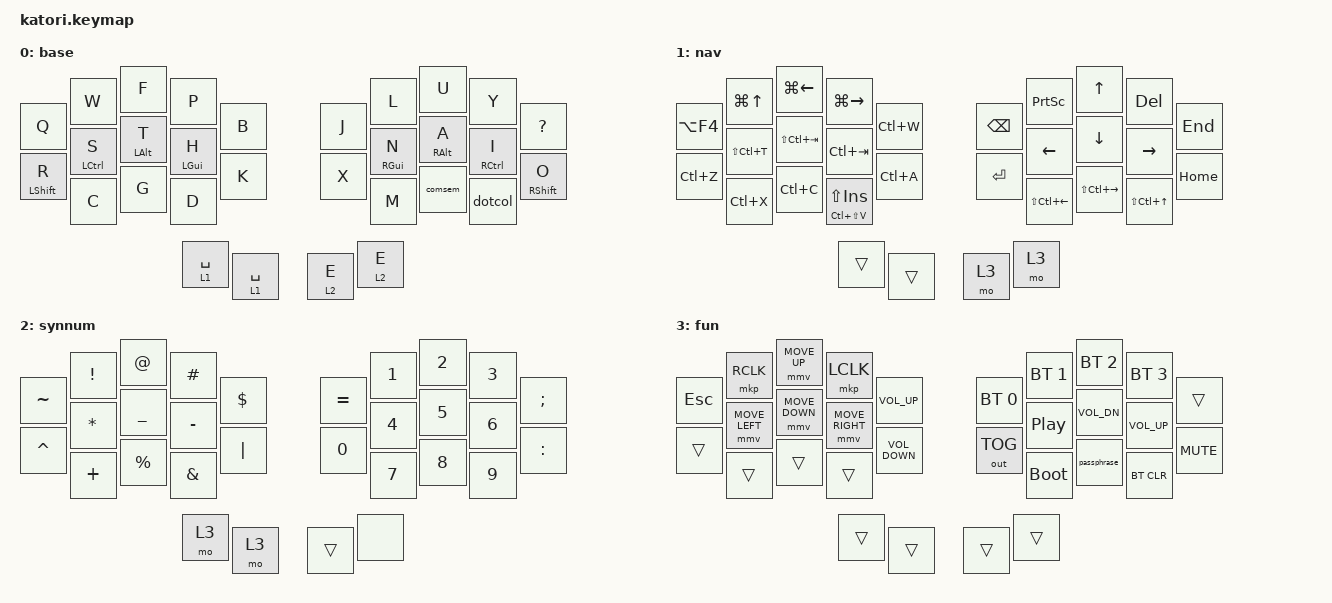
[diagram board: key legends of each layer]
/*
 * Copyright (c) 2020 The ZMK Contributors
 *
 * SPDX-License-Identifier: MIT
 */

#include <behaviors/mouse_keys.dtsi>
#include <behaviors.dtsi>
#include <dt-bindings/zmk/bt.h>
#include <dt-bindings/zmk/keys.h>
#include <dt-bindings/zmk/mouse.h>
#include <dt-bindings/zmk/outputs.h>

/* Key Position Groups */

#define KEYS_L 0 1 2 3 4 10 11 12 13 14 20 21 22  // left-hand keys
#define KEYS_R 5 6 7 8 9 15 16 17 18 19 23 24 25  // right-hand keys
#define THUMBS 26 27 28 29                        // thumb keys

/* Behavior Settings */

&sl { release-after-ms = <250>; };

&lt {
    tapping-term-ms = <240>;
    quick-tap-ms = <150>;
    require-prior-idle-ms = <10>;
    flavor = "tap-preferred";
};

&mt {
    tapping-term-ms = <250>;
    require-prior-idle-ms = <250>;
    flavor = "tap-preferred";
};

&soft_off {
    hold-time-ms = <5000>; // Only turn off it the key is held for 5 seconds or longer.
};

&sk {
    quick-release;
    release-after-ms = <600>;
};

/ {
    behaviors {
        dotcol: dot_col {
            compatible = "zmk,behavior-mod-morph";
            label = "DOT_COL";
            bindings = <&kp PERIOD>, <&kp COLON>;

            #binding-cells = <0>;
            mods = <(MOD_LSFT|MOD_RSFT)>;
        };

        comsem: comma_semicolon {
            compatible = "zmk,behavior-mod-morph";
            label = "COM_SEM";
            bindings = <&kp COMMA>, <&kp SEMI>;

            #binding-cells = <0>;
            mods = <(MOD_LSFT|MOD_RSFT)>;
        };

        shiftcap: shiftcap {
            compatible = "zmk,behavior-tap-dance";
            label = "SHIFTCAP";
            #binding-cells = <0>;
            bindings = <&sk LEFT_SHIFT>, <&caps_word>;
        };
    };

    conditional_layers { compatible = "zmk,conditional-layers"; };

    combos {
        compatible = "zmk,combos";

        /*                KEY POSITIONS

             0   1   2   3   4      5   6   7   8   9
            10  11  12  13  14     15  16  17  18  19
                20  21  22             23  24  25
                        26  27     28  29              */
        /* Letters */

        v {
            key-positions = <1 2>;
            bindings = <&kp V>;
        };

        qu {
            key-positions = <2 3>;
            bindings = <&qu>;
        };

        z {
            key-positions = <20 21>;
            bindings = <&kp Z>;
        };

        q {
            bindings = <&kp Q>;
            key-positions = <22 21>;
        };

        /* Brackets */

        lbkt {
            key-positions = <2 12>;
            bindings = <&kp LBKT>;
        };

        rbkt {
            key-positions = <7 17>;
            bindings = <&kp RBKT>;
        };

        lpar {
            key-positions = <3 13>;
            bindings = <&kp LPAR>;
        };

        rpar {
            key-positions = <6 16>;
            bindings = <&kp RPAR>;
        };

        lbrc {
            key-positions = <1 11>;
            bindings = <&kp LBRC>;
        };

        rbrc {
            key-positions = <18 8>;
            bindings = <&kp RBRC>;
        };

        /* Convenience */

        fwslah {
            bindings = <&kp SLASH>;
            key-positions = <24 25>;
        };

        bkslash {
            bindings = <&kp BACKSLASH>;
            key-positions = <23 24>;
        };

        apos {
            bindings = <&kp APOS>;
            key-positions = <8 7>;
        };

        grave {
            bindings = <&kp GRAVE>;
            key-positions = <6 7>;
        };

        off {
            bindings = <&soft_off>;
            key-positions = <25 24 23>;
        };

        boot {
            bindings = <&bootloader>;
            key-positions = <22 21 20>;
        };

        delete {
            bindings = <&kp DELETE>;
            key-positions = <11 12 13>;
        };

        backspace {
            bindings = <&kp BACKSPACE>;
            key-positions = <16 18 17>;
        };

        tab {
            bindings = <&kp TAB>;
            key-positions = <13 11>;
        };

        enter {
            bindings = <&kp ENTER>;
            key-positions = <16 18>;
        };

        less {
            bindings = <&kp LESS_THAN>;
            key-positions = <4 14>;
        };

        more {
            bindings = <&kp GREATER_THAN>;
            key-positions = <5 15>;
        };

        shiftl {
            bindings = <&sk LEFT_SHIFT>;
            key-positions = <13 12>;
        };

        shiftr {
            bindings = <&sk RIGHT_SHIFT>;
            key-positions = <16 17>;
        };

        capsword {
            bindings = <&caps_word>;
            key-positions = <13 16>;
        };

        playpause {
            bindings = <&kp C_PLAY_PAUSE>;
            key-positions = <5 15>;
            layers = <3 1>;
        };
    };

    macros {
        passphrase: passphrase {
            compatible = "zmk,behavior-macro";
            #binding-cells = <0>;
            bindings = <&none &kp J &kp N &kp M &kp DLLR &kp LS(A) &kp N7 &kp D &kp LS(N) &kp K &kp LS(S) &kp D &kp C &kp LS(N) &kp LS(P) &kp G &kp AMPS &kp R &kp LS(S) &kp LS(X) &kp G &kp N8 &kp LS(T) &kp Y &kp R &kp POUND &kp EXCL &kp N5 &kp LS(Y) &kp DLLR &kp N &kp LS(E) &kp S &kp H &kp LS(X) &kp AT &kp E &kp N5 &kp I &kp POUND &kp DLLR &kp LS(C) &kp LS(Y) &kp LS(P) &kp H &kp DLLR &kp LS(N) &kp LS(K) &kp S &kp N &kp A &kp N6 &kp LS(C) &kp QMARK &kp AMPS &kp A &kp LS(B) &kp Y &kp F &kp LS(D) &kp Q &kp LS(B) &kp G &kp AT &kp LS(L) &kp P &kp LS(R) &kp POUND &kp I &kp LS(L) &kp N5 &kp AMPS &kp N8 &kp AT &kp I &kp LS(J) &kp P &kp LS(E) &kp N5 &kp I &kp LS(J) &kp LS(C) &kp N3 &kp J &kp QMARK &kp O &kp LS(T) &kp LS(J) &kp E &kp LS(X) &kp R &kp LS(F) &kp J &kp E &kp S &kp I &kp Y &kp K &kp C &kp LS(H) &kp LS(C) &kp LS(X) &kp LS(R) &kp N5 &kp LS(T) &kp LS(L) &kp LS(F) &kp I &kp T &kp D &kp N5 &kp LS(P) &kp N5 &kp LS(Q) &kp O &kp LS(Y) &kp P &kp QMARK &kp P &kp LS(E) &kp Z &kp ENTER>;
            label = "PASSPHRASE";
        };

        qu: qu {
            compatible = "zmk,behavior-macro";
            #binding-cells = <0>;
            bindings = <&kp Q &kp U>;
            label = "QU";
        };
    };

    keymap {
        compatible = "zmk,keymap";

        base {
            bindings = <
&kp Q             &kp W               &kp F           &kp P           &kp B        &kp J           &kp L                     &kp U            &kp Y        &kp QUESTION
&mt LEFT_SHIFT R  &mt LEFT_CONTROL S  &mt LEFT_ALT T  &mt LEFT_GUI H  &kp K        &kp X           &mt RIGHT_GUI N           &mt RIGHT_ALT A  &mt RCTRL I  &mt RIGHT_SHIFT O
                  &kp C               &kp G           &kp D                                        &kp M                     &comsem          &dotcol
                                                      &lt 1 SPACE     &lt 1 SPACE         &lt 2 E                   &lt 2 E
            >;
        };

        nav {
            bindings = <
&kp LA(F4)  &kp LG(UP)     &kp LG(LEFT)     &kp LG(RIGHT)             &kp LC(W)  &kp BACKSPACE         &kp PRINTSCREEN          &kp UP             &kp DELETE      &kp END
&kp LC(Z)   &kp LS(LC(T))  &kp LS(LC(TAB))  &kp LC(TAB)               &kp LC(A)  &kp ENTER             &kp LEFT                 &kp DOWN           &kp RIGHT       &kp HOME
            &kp LC(X)      &kp LC(C)        &mt LC(LS(V)) LS(INSERT)                                   &kp LS(LC(LEFT))         &kp LS(LC(RIGHT))  &kp LS(LC(UP))
                                            &trans                    &trans                    &mo 3                    &mo 3
            >;
        };

        synnum {
            bindings = <
&kp TILDE  &kp EXCL      &kp AT       &kp HASH       &kp DOLLAR  &kp EQUAL          &kp N1         &kp N2  &kp N3  &kp SEMI
&kp CARET  &kp ASTERISK  &kp UNDER    &kp MINUS      &kp PIPE    &kp N0             &kp N4         &kp N5  &kp N6  &kp COLON
           &kp PLUS      &kp PERCENT  &kp AMPERSAND                                 &kp N7         &kp N8  &kp N9
                                      &mo 3          &mo 3                  &trans          &none
            >;
        };

        fun {
            bindings = <
&kp ESCAPE  &mkp RCLK       &mmv MOVE_UP    &mkp LCLK        &kp C_VOLUME_UP    &bt BT_SEL 0          &bt BT_SEL 1              &bt BT_SEL 2  &bt BT_SEL 3     &trans
&trans      &mmv MOVE_LEFT  &mmv MOVE_DOWN  &mmv MOVE_RIGHT  &kp C_VOLUME_DOWN  &out OUT_TOG          &kp C_PLAY_PAUSE          &kp C_VOL_DN  &kp C_VOLUME_UP  &kp C_MUTE
            &trans          &trans          &trans                                                    &bootloader               &passphrase   &bt BT_CLR
                                            &trans           &trans                           &trans                    &trans
            >;
        };
    };
};
